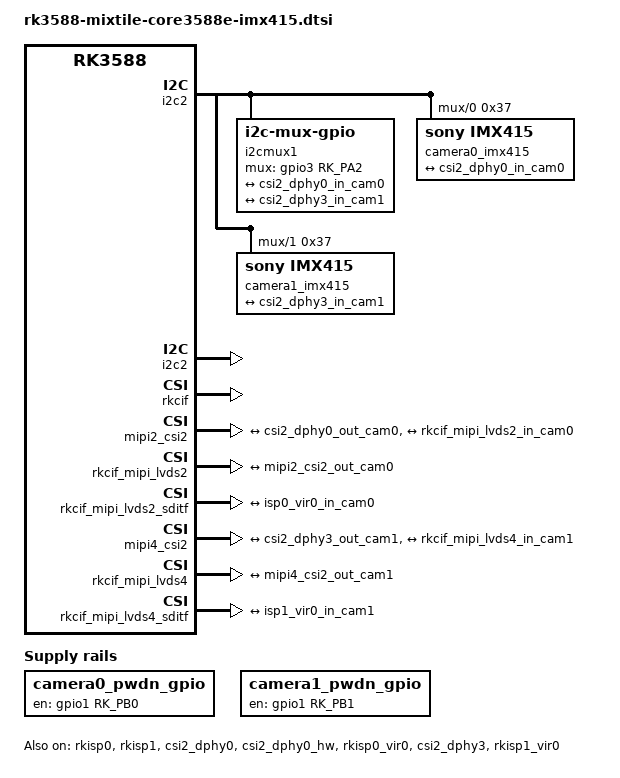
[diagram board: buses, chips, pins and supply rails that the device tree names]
// SPDX-License-Identifier: (GPL-2.0+ OR MIT)
/*
 * Copyright (c) 2026 Mixtile Limited
 */

#include <dt-bindings/clock/rk3588-cru.h>
#include <dt-bindings/power/rk3588-power.h>
#include <dt-bindings/gpio/gpio.h>
#include <dt-bindings/pinctrl/rockchip.h>

/ {
	camera0_pwdn_gpio: camera0-pwdn-gpio {
		status = "okay";
		compatible = "regulator-fixed";
		regulator-name = "camera0_pwdn_gpio";
		regulator-always-on;
		regulator-boot-on;
		enable-active-high;
		gpio = <&gpio1 RK_PB0 GPIO_ACTIVE_HIGH>;
	};

	camera1_pwdn_gpio: camera1-pwdn-gpio {
		status = "okay";
		compatible = "regulator-fixed";
		regulator-name = "camera1_pwdn_gpio";
		regulator-always-on;
		regulator-boot-on;
		enable-active-high;
		gpio = <&gpio1 RK_PB1 GPIO_ACTIVE_HIGH>;
	};

	i2cmux1: i2cmux1 {
		compatible = "i2c-mux-gpio";
		#address-cells = <1>;
		#size-cells = <0>;
		i2c-parent = <&i2c2>;
		mux-gpios = <&gpio3 RK_PA2 GPIO_ACTIVE_HIGH>;

		i2c_cam0: i2c@0 {
			reg = <0>;
			#address-cells = <1>;
			#size-cells = <0>;
		};

		i2c_cam1: i2c@1 {
			reg = <1>;
			#address-cells = <1>;
			#size-cells = <0>;
		};
	};
};

&i2c2 {
	status = "okay";
	pinctrl-names = "default";
	pinctrl-0 = <&i2c2m4_xfer>;
};

&i2cmux1 {
	status = "okay";
};

&rkcif {
	status = "okay";
};

&rkcif_mmu {
	status = "okay";
};

&rkisp0 {
	status = "okay";
};

&isp0_mmu {
	status = "okay";
};

&rkisp1 {
	status = "okay";
};

&isp1_mmu {
	status = "okay";
};

&i2c_cam0 {
	camera0_imx415: camera0-imx415@37 {
		status = "okay";
		compatible = "sony,imx415";
		reg = <0x37>;
		clocks = <&cru CLK_MIPI_CAMARAOUT_M0>;
		clock-names = "xvclk";
		pinctrl-names = "default";
		pinctrl-0 = <&mipim1_camera0_clk>;
		power-domains = <&power RK3588_PD_VI>;
		rockchip,camera-module-index = <0>;
		rockchip,camera-module-facing = "back";
		rockchip,camera-module-name = "rpi-camera-v2";
		rockchip,camera-module-lens-name = "default";

		port {
			camera0_imx415_out: endpoint {
				remote-endpoint = <&csi2_dphy0_in_cam0>;
				data-lanes = <1 2 3 4>;
			};
		};
	};
};

&i2c_cam1 {
	camera1_imx415: camera1-imx415@37 {
		status = "okay";
		compatible = "sony,imx415";
		reg = <0x37>;
		clocks = <&cru CLK_MIPI_CAMARAOUT_M1>;
		clock-names = "xvclk";
		pinctrl-names = "default";
		pinctrl-0 = <&mipim1_camera1_clk>;
		power-domains = <&power RK3588_PD_VI>;
		rockchip,camera-module-index = <1>;
		rockchip,camera-module-facing = "back";
		rockchip,camera-module-name = "rpi-camera-v2";
		rockchip,camera-module-lens-name = "default";

		port {
			camera1_imx415_out: endpoint {
				remote-endpoint = <&csi2_dphy3_in_cam1>;
				data-lanes = <1 2 3 4>;
			};
		};
	};
};

&csi2_dphy0 {
	status = "okay";

	ports {
		#address-cells = <1>;
		#size-cells = <0>;

		port@0 {
			reg = <0>;
			#address-cells = <1>;
			#size-cells = <0>;

			csi2_dphy0_in_cam0: endpoint@1 {
				reg = <1>;
				remote-endpoint = <&camera0_imx415_out>;
				data-lanes = <1 2 3 4>;
			};
		};

		port@1 {
			reg = <1>;
			#address-cells = <1>;
			#size-cells = <0>;

			csi2_dphy0_out_cam0: endpoint@0 {
				reg = <0>;
				remote-endpoint = <&mipi2_csi2_in_cam0>;
			};
		};
	};
};

&csi2_dphy0_hw {
	status = "okay";
};

&mipi2_csi2 {
	status = "okay";

	ports {
		#address-cells = <1>;
		#size-cells = <0>;

		port@0 {
			reg = <0>;
			#address-cells = <1>;
			#size-cells = <0>;

			mipi2_csi2_in_cam0: endpoint@1 {
				reg = <1>;
				remote-endpoint = <&csi2_dphy0_out_cam0>;
			};
		};

		port@1 {
			reg = <1>;
			#address-cells = <1>;
			#size-cells = <0>;

			mipi2_csi2_out_cam0: endpoint@0 {
				reg = <0>;
				remote-endpoint = <&rkcif_mipi_lvds2_in_cam0>;
			};
		};
	};
};

&rkcif_mipi_lvds2 {
	status = "okay";

	port {
		rkcif_mipi_lvds2_in_cam0: endpoint {
			remote-endpoint = <&mipi2_csi2_out_cam0>;
		};
	};
};

&rkcif_mipi_lvds2_sditf {
	status = "okay";

	port {
		rkcif_mipi_lvds2_sditf_out: endpoint {
			remote-endpoint = <&isp0_vir0_in_cam0>;
		};
	};
};

&rkisp0_vir0 {
	status = "okay";

	port {
		#address-cells = <1>;
		#size-cells = <0>;

		isp0_vir0_in_cam0: endpoint@0 {
			reg = <0>;
			remote-endpoint = <&rkcif_mipi_lvds2_sditf_out>;
		};
	};
};

&csi2_dphy3 {
	status = "okay";

	ports {
		#address-cells = <1>;
		#size-cells = <0>;

		port@0 {
			reg = <0>;
			#address-cells = <1>;
			#size-cells = <0>;

			csi2_dphy3_in_cam1: endpoint@1 {
				reg = <1>;
				remote-endpoint = <&camera1_imx415_out>;
				data-lanes = <1 2 3 4>;
			};
		};

		port@1 {
			reg = <1>;
			#address-cells = <1>;
			#size-cells = <0>;

			csi2_dphy3_out_cam1: endpoint@0 {
				reg = <0>;
				remote-endpoint = <&mipi4_csi2_in_cam1>;
			};
		};
	};
};

&mipi4_csi2 {
	status = "okay";

	ports {
		#address-cells = <1>;
		#size-cells = <0>;

		port@0 {
			reg = <0>;
			#address-cells = <1>;
			#size-cells = <0>;

			mipi4_csi2_in_cam1: endpoint@1 {
				reg = <1>;
				remote-endpoint = <&csi2_dphy3_out_cam1>;
			};
		};

		port@1 {
			reg = <1>;
			#address-cells = <1>;
			#size-cells = <0>;

			mipi4_csi2_out_cam1: endpoint@0 {
				reg = <0>;
				remote-endpoint = <&rkcif_mipi_lvds4_in_cam1>;
			};
		};
	};
};

&rkcif_mipi_lvds4 {
	status = "okay";

	port {
		rkcif_mipi_lvds4_in_cam1: endpoint {
			remote-endpoint = <&mipi4_csi2_out_cam1>;
		};
	};
};

&rkcif_mipi_lvds4_sditf {
	status = "okay";

	port {
		rkcif_mipi_lvds4_sditf_out: endpoint {
			remote-endpoint = <&isp1_vir0_in_cam1>;
		};
	};
};

&rkisp1_vir0 {
	status = "okay";

	port {
		#address-cells = <1>;
		#size-cells = <0>;

		isp1_vir0_in_cam1: endpoint@0 {
			reg = <0>;
			remote-endpoint = <&rkcif_mipi_lvds4_sditf_out>;
		};
	};
};
